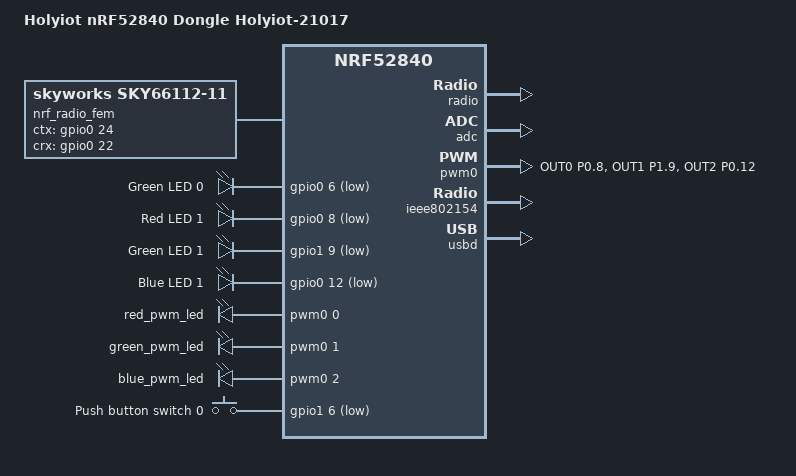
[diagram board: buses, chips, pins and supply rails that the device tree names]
// Copyright (c) 2024 Nordic Semiconductor ASA
// SPDX-License-Identifier: Apache-2.0

/dts-v1/;
#include <nordic/nrf52840_qiaa.dtsi>
#include <zephyr/dt-bindings/input/input-event-codes.h>

&pinctrl {
	pwm0_default: pwm0_default {
		group1 {
			psels = <NRF_PSEL(PWM_OUT0, 0, 8)>,
				<NRF_PSEL(PWM_OUT1, 1, 9)>,
				<NRF_PSEL(PWM_OUT2, 0, 12)>;
			nordic,invert;
		};
	};

	pwm0_sleep: pwm0_sleep {
		group1 {
			psels = <NRF_PSEL(PWM_OUT0, 0, 8)>,
				<NRF_PSEL(PWM_OUT1, 1, 9)>,
				<NRF_PSEL(PWM_OUT2, 0, 12)>;
			low-power-enable;
		};
	};
};

/ {
	model = "Holyiot nRF52840 Dongle Holyiot-21017";
	compatible = "nordic,nrf52840-dongle-nrf52840";

	chosen {
		zephyr,console = &cdc_acm_uart;
		zephyr,shell-uart = &cdc_acm_uart;
		zephyr,uart-mcumgr = &cdc_acm_uart;
		zephyr,bt-mon-uart = &cdc_acm_uart;
		zephyr,bt-c2h-uart = &cdc_acm_uart;
		zephyr,sram = &sram0;
		zephyr,flash = &flash0;
		zephyr,ieee802154 = &ieee802154;
	};

	nrf_radio_fem: skyFem {
        compatible = "skyworks,sky66112-11", "generic-fem-two-ctrl-pins";
        ctx-gpios = <&gpio0 24 GPIO_ACTIVE_HIGH>;
        ctx-settle-time-us = <1>;
        crx-gpios = <&gpio0 22 GPIO_ACTIVE_HIGH>;
        crx-settle-time-us = <1>;
        tx-gain-db = <22>;
		rx-gain-db = <12>;
    };

	leds {
		compatible = "gpio-leds";
		led0_green: led_0 {
			gpios = <&gpio0 6 GPIO_ACTIVE_LOW>;
			label = "Green LED 0";
		};
		led1_red: led_1 {
			gpios = <&gpio0 8 GPIO_ACTIVE_LOW>;
			label = "Red LED 1";
		};
		led1_green: led_2 {
			gpios = <&gpio1 9 GPIO_ACTIVE_LOW>;
			label = "Green LED 1";
		};
		led1_blue: led_3 {
			gpios = <&gpio0 12 GPIO_ACTIVE_LOW>;
			label = "Blue LED 1";
		};
	};

	pwmleds {
		compatible = "pwm-leds";
		red_pwm_led: pwm_led_0 {
			pwms = <&pwm0 0 PWM_MSEC(1) PWM_POLARITY_INVERTED>;
		};
		green_pwm_led: pwm_led_1 {
			pwms = <&pwm0 1 PWM_MSEC(1) PWM_POLARITY_INVERTED>;
		};
		blue_pwm_led: pwm_led_2 {
			pwms = <&pwm0 2 PWM_MSEC(1) PWM_POLARITY_INVERTED>;
		};
	};

	buttons {
		compatible = "gpio-keys";
		button0: button_0 {
			gpios = <&gpio1 6 (GPIO_PULL_UP | GPIO_ACTIVE_LOW)>;
			label = "Push button switch 0";
			zephyr,code = <INPUT_KEY_0>;
		};
	};

	aliases {
		sw0 = &button0;
		led0 = &led0_green;
		led1 = &led1_red;
		led2 = &led1_green;
		led3 = &led1_blue;
		led0-green = &led0_green;
		led1-red   = &led1_red;
		led1-green = &led1_green;
		led1-blue  = &led1_blue;
		pwm-led0 = &red_pwm_led;
		pwm-led1 = &green_pwm_led;
		pwm-led2 = &blue_pwm_led;
		red-pwm-led = &red_pwm_led;
		green-pwm-led = &green_pwm_led;
		blue-pwm-led = &blue_pwm_led;
		mcuboot-button0 = &button0;
		mcuboot-led0 = &led0_green;
		watchdog0 = &wdt0;
	};
};

&reg0 {
    status = "disabled";
};

&reg1 {
    regulator-initial-mode = <NRF5X_REG_MODE_LDO>;
};

&radio {
    fem = <&nrf_radio_fem>;
};

&adc {
	status = "okay";
};

&gpiote {
	status = "okay";
};

&uicr {
	nfct-pins-as-gpios;
	gpio-as-nreset;
};

&gpio0 {
	status = "okay";
};

&gpio1 {
	status = "okay";
};

&pwm0 {
	status = "okay";
	pinctrl-0 = <&pwm0_default>;
	pinctrl-1 = <&pwm0_sleep>;
	pinctrl-names = "default", "sleep";
};

&ieee802154 {
	status = "okay";
};

zephyr_udc0: &usbd {
	compatible = "nordic,nrf-usbd";
	status = "okay";

	cdc_acm_uart: cdc_acm_uart {
		compatible = "zephyr,cdc-acm-uart";
	};
};
